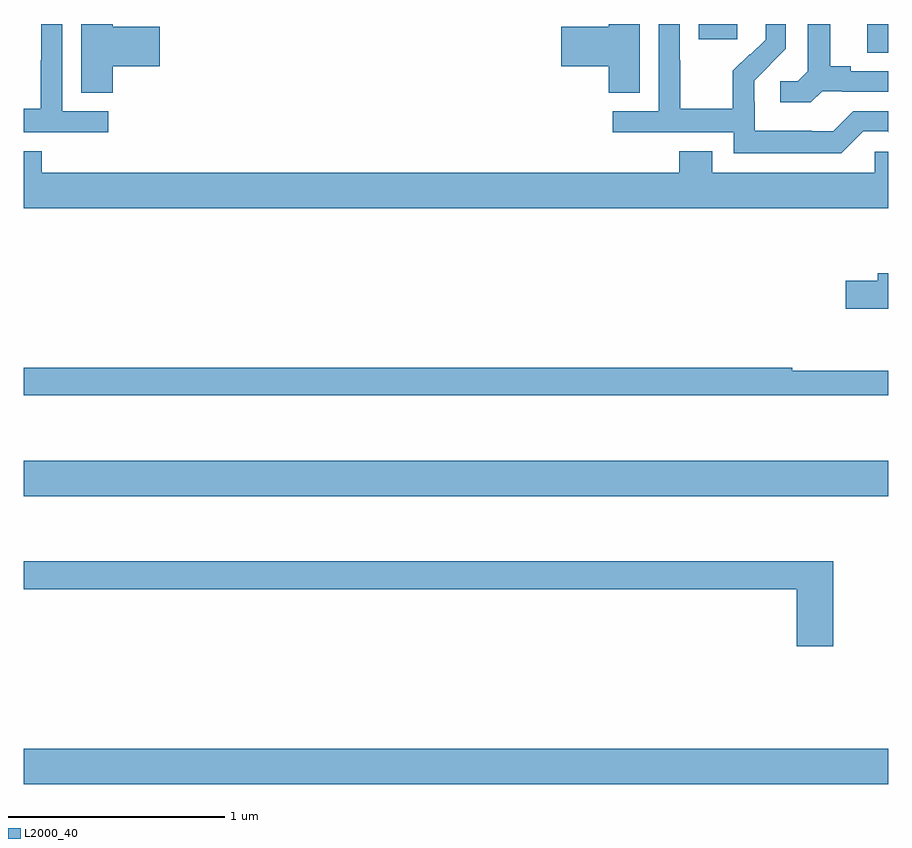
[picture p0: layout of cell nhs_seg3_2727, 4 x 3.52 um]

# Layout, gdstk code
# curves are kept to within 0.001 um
import gdstk
lib = gdstk.Library(unit=1e-6, precision=1e-09)
def R(c, l, rs):  # rectangles x0, y0, x1, y1
    for r in rs: c.add(gdstk.rectangle(r[:2], r[2:], *l))
def P(c, l, *ps):  # polygons
    for p in ps: c.add(gdstk.Polygon(p, *l))
L2000_40 = (2000, 40)

nhs_seg3_2727 = lib.new_cell('nhs_seg3_2727')
R(nhs_seg3_2727, L2000_40, [(251,732.884,255,733.048), (251,734.216,255,734.38), (254.903,736.267,255,736.4), (254.123,736.329,254.302,736.4)])
P(nhs_seg3_2727, L2000_40, [(253.849,736.4),(253.706,736.4),(253.706,736.388),(253.488,736.388),(253.488,736.205),(253.706,736.205),(253.706,736.081),(253.849,736.081)],
  [(254.883,735.903),(254.999,735.903),(255,735.9),(255,735.996),(254.838,735.996),(254.745,735.903),(254.645,735.903),(254.645,735.907),(254.382,735.907),(254.382,736.041),(254.38,736.041),(254.38,736.138),(254.526,736.286),(254.526,736.4),(254.432,736.4),(254.432,736.328),(254.361,736.257),(254.358,736.26),(254.281,736.183),(254.281,736.009),(254.037,736.009),(254.037,736.232),(254.034,736.232),(254.034,736.4),(253.938,736.4),(253.938,735.996),(253.725,735.996),(253.725,735.9),(254.286,735.9),(254.286,735.803),(254.783,735.803)],
  [(254.694,736.089),(254.788,736.089),(254.788,736.086),(255,736.086),(255,736.182),(254.827,736.182),(254.827,736.205),(254.731,736.205),(254.731,736.4),(254.627,736.4),(254.627,736.181),(254.58,736.134),(254.499,736.134),(254.499,736.037),(254.642,736.037)],
  [(251.392,735.996),(251.178,735.996),(251.178,736.4),(251.082,736.4),(251.082,736.232),(251.08,736.232),(251.08,736.009),(251,736.009),(251,735.9),(251.392,735.9)],
  [(251.411,736.205),(251.629,736.205),(251.629,736.388),(251.411,736.388),(251.411,736.4),(251.267,736.4),(251.267,736.081),(251.411,736.081)],
  [(255,735.81),(254.937,735.81),(254.937,735.712),(254.185,735.712),(254.185,735.811),(254.033,735.811),(254.033,735.712),(251.084,735.712),(251.084,735.811),(251,735.811),(251,735.548),(255,735.548)],
  [(255,735.247),(254.951,735.247),(254.951,735.213),(254.802,735.213),(254.802,735.083),(255,735.083)],
  [(255,734.795),(254.555,734.795),(254.555,734.81),(251,734.81),(251,734.682),(255,734.682)],
  [(254.746,733.915),(251,733.915),(251,733.786),(254.576,733.786),(254.576,733.521),(254.746,733.521)])

lib.write_gds('nhs_seg3_2727.gds')
